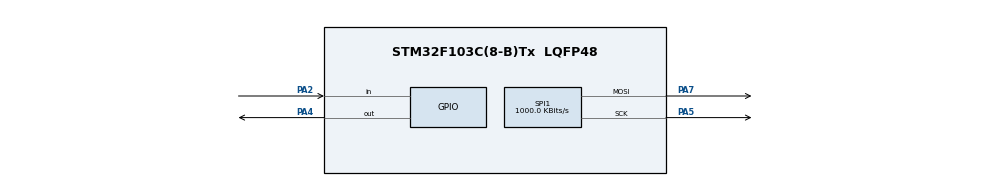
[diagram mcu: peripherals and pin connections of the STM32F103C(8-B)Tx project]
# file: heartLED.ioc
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Mcu.Family=STM32F1
Mcu.Name=STM32F103C(8-B)Tx
Mcu.Package=LQFP48
NVIC.PriorityGroup=NVIC_PRIORITYGROUP_4
PA13.Mode=Serial_Wire
PA13.Signal=SYS_JTMS-SWDIO
PA14.Mode=Serial_Wire
PA14.Signal=SYS_JTCK-SWCLK
PA2.Signal=GPIO_Input
PA4.Signal=GPIO_Output
PA5.Mode=TX_Only_Simplex_Unidirect_Master
PA5.Signal=SPI1_SCK
PA7.Mode=TX_Only_Simplex_Unidirect_Master
PA7.Signal=SPI1_MOSI
ProjectManager.HeapSize=0x200
ProjectManager.StackSize=0x400
ProjectManager.TargetToolchain=STM32CubeIDE
RCC.APB1Freq_Value=8000000
RCC.APB2Freq_Value=8000000
SPI1.BaudRatePrescaler=SPI_BAUDRATEPRESCALER_8
SPI1.CalculateBaudRate=1000.0 KBits/s
SPI1.Direction=SPI_DIRECTION_2LINES
SPI1.Mode=SPI_MODE_MASTER
SPI1.VirtualType=VM_MASTER
TIM2.Prescaler=7
VP_TIM2_VS_ClockSourceINT.Mode=Internal
board=custom

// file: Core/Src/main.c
/* USER CODE BEGIN Header */
/**
  ******************************************************************************
  * @file           : main.c
  * @brief          : Main program body
  ******************************************************************************
  * @attention
  *
  * Copyright (c) 2026 STMicroelectronics.
  * All rights reserved.
  *
  * This software is licensed under terms that can be found in the LICENSE file
  * in the root directory of this software component.
  * If no LICENSE file comes with this software, it is provided AS-IS.
  *
  ******************************************************************************
  */
/* USER CODE END Header */
#include "main.h"

SPI_HandleTypeDef hspi1;

TIM_HandleTypeDef htim2;

void SystemClock_Config(void);
static void MX_GPIO_Init(void);
static void MX_SPI1_Init(void);
static void MX_TIM2_Init(void);

/* USER CODE BEGIN 0 */
static uint8_t previous = 0;
static uint8_t mode = 1;

typedef struct
{
    int8_t row;
    uint8_t column;
    uint8_t speed_div;
    uint8_t tick;
} Star;

static void Frame_SetPixel(
    uint8_t frame[7],
    int8_t row,
    uint8_t column)
{
    if ((row < 0) || (row >= 7) || (column >= 7))
    {
        return;
    }

    frame[row] |= (uint8_t)(1U << (column + 1U));
}

static void Delay_us(uint16_t us)
{
    __HAL_TIM_SET_COUNTER(&htim2, 0U);

    while (__HAL_TIM_GET_COUNTER(&htim2) < us)
    {
    }
}

static void Shift_Write(uint8_t rows, uint8_t columns)
{
    uint8_t tx[2] = {rows, columns};

    HAL_GPIO_WritePin(GPIOA, GPIO_PIN_4, GPIO_PIN_RESET);

    HAL_SPI_Transmit(&hspi1, tx, 2, HAL_MAX_DELAY);

    HAL_GPIO_WritePin(GPIOA, GPIO_PIN_4, GPIO_PIN_SET);
}

static void Button_Update(void)
{
    uint8_t current =
        (uint8_t)HAL_GPIO_ReadPin(GPIOA, GPIO_PIN_2);

    if ((previous == 0U) && (current == 1U))
    {
        Delay_us(20000);

        if (HAL_GPIO_ReadPin(GPIOA, GPIO_PIN_2) == GPIO_PIN_SET)
        {
            mode++;

            if (mode > 4U)
            {
                mode = 1U;
            }
        }
    }

    previous = current;
}

static void DisplayFrames(
    const uint8_t (*frame)[7],
    uint32_t duration_ms,
    uint16_t frame_count,
    uint8_t brightness)
{
    uint8_t mode_at_start = mode;

    const uint16_t row_period_us = 1000U;

    if (brightness > 100U)
    {
        brightness = 100U;
    }

    uint16_t on_time_us =
        (uint16_t)(((uint32_t)row_period_us * brightness) / 100U);

    uint16_t off_time_us =
        (uint16_t)(row_period_us - on_time_us);

    for (uint16_t i = 0; i < frame_count; i++)
    {
        uint32_t start = HAL_GetTick();

        while ((HAL_GetTick() - start) < duration_ms)
        {
            Button_Update();

            if (mode != mode_at_start)
            {
                Shift_Write(0x00, 0x00);
                return;
            }

            for (uint8_t row = 0; row < 7; row++)
            {
                uint8_t row_mask =
                    (uint8_t)(1U << (7U - row));

                Shift_Write(0x00, 0x00);

                if ((on_time_us > 0U) && (frame[i][row] != 0U))
                {
                    Shift_Write(row_mask, frame[i][row]);
                    Delay_us(on_time_us);
                }

                Shift_Write(0x00, 0x00);

                if (off_time_us > 0U)
                {
                    Delay_us(off_time_us);
                }
            }
        }
    }

    Shift_Write(0x00, 0x00);
}

static void Starfall(void)
{
    static Star stars[3U] =
    {
        { .row = -1, .column = 1U, .speed_div = 1U, .tick = 0U },
        { .row = -4, .column = 4U, .speed_div = 2U, .tick = 0U },
        { .row = -7, .column = 6U, .speed_div = 3U, .tick = 0U }
    };

    uint8_t frame[7] = {0};

    for (uint8_t i = 0U; i < 3U; i++)
    {
        Frame_SetPixel(frame, stars[i].row, stars[i].column);
        Frame_SetPixel(frame, stars[i].row - 1, stars[i].column);
        Frame_SetPixel(frame, stars[i].row - 2, stars[i].column);

        stars[i].tick++;

        if (stars[i].tick >= stars[i].speed_div)
        {
            stars[i].tick = 0U;
            stars[i].row++;
        }

        if (stars[i].row > 8)
        {
            stars[i].row = -2;

            stars[i].column =
                (uint8_t)((stars[i].column + 2U + i) % 7U);

            stars[i].speed_div =
                (uint8_t)(1U + ((stars[i].speed_div + i) % 3U));
        }
    }

    DisplayFrames(
        &frame,
        70U,
        1U,
        100U
    );
}

uint8_t love_frames[][7] = {
		{0b00000000, 0b00010000, 0b00010000, 0b00010000, 0b00010000, 0b00010000, 0b00010000}, //i
		{0b01101100, 0b11111110, 0b11111110, 0b11111110, 0b01111100, 0b00111000, 0b00010000}, //heart
	    {0b01000100, 0b01000100, 0b00101000, 0b00010000, 0b00010000, 0b00010000, 0b00010000}, //y
	    {0b00000000, 0b00111000, 0b01000100, 0b01000100, 0b01000100, 0b00111000, 0b00000000}, //o
		{0b01000100, 0b01000100, 0b01000100, 0b01000100, 0b01000100, 0b00111000, 0b00000000} //u
};

uint8_t heart_frames[][7] = {
		{0b01101100, 0b11111110, 0b11111110, 0b11111110, 0b01111100, 0b00111000, 0b00010000}
};

static uint8_t IsHeartPixel(int8_t row, int8_t column)
{
    static const uint8_t heart_shape[7] =
    {
        0b01101100,
        0b11111110,
        0b11111110,
        0b11111110,
        0b01111100,
        0b00111000,
        0b00010000
    };

    if ((row < 0) || (row >= 7) ||
        (column < 0) || (column >= 7))
    {
        return 0U;
    }

    uint8_t column_mask =
        (uint8_t)(1U << ((uint8_t)column + 1U));

    return ((heart_shape[row] & column_mask) != 0U);
}

static uint32_t random_state = 0xA341316CU;

static uint32_t Random_Get(void)
{
    random_state ^= random_state << 13;
    random_state ^= random_state >> 17;
    random_state ^= random_state << 5;

    return random_state;
}

static void RandomComet(void)
{
    static Star comet =
    {
        .row = 3,
        .column = 3U,
        .speed_div = 0U,
        .tick = 0U
    };

    static int8_t previous_row = 3;
    static int8_t previous_column = 3;

    static int8_t tail_2_row = 3;
    static int8_t tail_2_column = 3;

    static uint32_t last_move_ms = 0U;

    const uint32_t move_period_ms = 150U;

    uint8_t frame[7] = {0};

    Frame_SetPixel(
        frame,
        comet.row,
        comet.column
    );

    if ((comet.tick % 2U) == 0U)
    {
        Frame_SetPixel(
            frame,
            previous_row,
            (uint8_t)previous_column
        );
    }

    if ((comet.tick % 4U) == 0U)
    {
        Frame_SetPixel(
            frame,
            tail_2_row,
            (uint8_t)tail_2_column
        );
    }

    DisplayFrames(
        &frame,
        10U,
        1U,
        100U
    );

    if ((HAL_GetTick() - last_move_ms) < move_period_ms)
    {
        return;
    }

    last_move_ms = HAL_GetTick();

    static const int8_t row_step[4] =
    {
        -1, 1, 0, 0
    };

    static const int8_t column_step[4] =
    {
        0, 0, -1, 1
    };

    uint8_t valid_directions[4];
    uint8_t valid_count = 0U;

    for (uint8_t direction = 0U;
         direction < 4U;
         direction++)
    {
        int8_t next_row =
            comet.row + row_step[direction];

        int8_t next_column =
            (int8_t)comet.column + column_step[direction];

        if (!IsHeartPixel(next_row, next_column))
        {
            continue;
        }

        if ((next_row == previous_row) &&
            (next_column == previous_column))
        {
            continue;
        }

        valid_directions[valid_count] = direction;
        valid_count++;
    }

    if (valid_count == 0U)
    {
        for (uint8_t direction = 0U;
             direction < 4U;
             direction++)
        {
            int8_t next_row =
                comet.row + row_step[direction];

            int8_t next_column =
                (int8_t)comet.column +
                column_step[direction];

            if (IsHeartPixel(next_row, next_column))
            {
                valid_directions[valid_count] = direction;
                valid_count++;
            }
        }
    }

    if (valid_count == 0U)
    {
        return;
    }

    uint8_t selected_direction =
        valid_directions[Random_Get() % valid_count];

    int8_t next_row =
        comet.row + row_step[selected_direction];

    int8_t next_column =
        (int8_t)comet.column +
        column_step[selected_direction];

    tail_2_row = previous_row;
    tail_2_column = previous_column;

    previous_row = comet.row;
    previous_column = (int8_t)comet.column;

    comet.row = next_row;
    comet.column = (uint8_t)next_column;

    comet.tick++;
}
/* USER CODE END 0 */

int main(void)
{

  /* MCU Configuration--------------------------------------------------------*/

  /* Reset of all peripherals, Initializes the Flash interface and the Systick. */
  HAL_Init();

  /* Configure the system clock */
  SystemClock_Config();

  /* Initialize all configured peripherals */
  MX_GPIO_Init();
  MX_SPI1_Init();
  MX_TIM2_Init();
  /* USER CODE BEGIN 2 */
  HAL_TIM_Base_Start(&htim2);
  /* USER CODE END 2 */

  /* Infinite loop */
  /* USER CODE BEGIN WHILE */
  while (1)
  {
      Button_Update();

      if (mode == 1U)
      {
          DisplayFrames(
              love_frames,
              1000,
              sizeof(love_frames) / sizeof(love_frames[0]),
			  100U
          );
      }
      else if(mode == 2U)
      {
          DisplayFrames(
              heart_frames,
              1000,
              sizeof(heart_frames) / sizeof(heart_frames[0]),
			  100U
          );
      }

      else if (mode == 3U){
    	  Starfall();
      }

      else if (mode == 4U){

    	  RandomComet();
      }

  }
  /* USER CODE END 3 */
}

void SystemClock_Config(void)
{
  RCC_OscInitTypeDef RCC_OscInitStruct = {0};
  RCC_ClkInitTypeDef RCC_ClkInitStruct = {0};

  /** Initializes the RCC Oscillators according to the specified parameters
  * in the RCC_OscInitTypeDef structure.
  */
  RCC_OscInitStruct.OscillatorType = RCC_OSCILLATORTYPE_HSI;
  RCC_OscInitStruct.HSIState = RCC_HSI_ON;
  RCC_OscInitStruct.HSICalibrationValue = RCC_HSICALIBRATION_DEFAULT;
  RCC_OscInitStruct.PLL.PLLState = RCC_PLL_NONE;
  if (HAL_RCC_OscConfig(&RCC_OscInitStruct) != HAL_OK)
  {
    Error_Handler();
  }

  /** Initializes the CPU, AHB and APB buses clocks
  */
  RCC_ClkInitStruct.ClockType = RCC_CLOCKTYPE_HCLK|RCC_CLOCKTYPE_SYSCLK
                              |RCC_CLOCKTYPE_PCLK1|RCC_CLOCKTYPE_PCLK2;
  RCC_ClkInitStruct.SYSCLKSource = RCC_SYSCLKSOURCE_HSI;
  RCC_ClkInitStruct.AHBCLKDivider = RCC_SYSCLK_DIV1;
  RCC_ClkInitStruct.APB1CLKDivider = RCC_HCLK_DIV1;
  RCC_ClkInitStruct.APB2CLKDivider = RCC_HCLK_DIV1;

  if (HAL_RCC_ClockConfig(&RCC_ClkInitStruct, FLASH_LATENCY_0) != HAL_OK)
  {
    Error_Handler();
  }
}

static void MX_SPI1_Init(void)
{

  /* SPI1 parameter configuration*/
  hspi1.Instance = SPI1;
  hspi1.Init.Mode = SPI_MODE_MASTER;
  hspi1.Init.Direction = SPI_DIRECTION_2LINES;
  hspi1.Init.DataSize = SPI_DATASIZE_8BIT;
  hspi1.Init.CLKPolarity = SPI_POLARITY_LOW;
  hspi1.Init.CLKPhase = SPI_PHASE_1EDGE;
  hspi1.Init.NSS = SPI_NSS_SOFT;
  hspi1.Init.BaudRatePrescaler = SPI_BAUDRATEPRESCALER_8;
  hspi1.Init.FirstBit = SPI_FIRSTBIT_MSB;
  hspi1.Init.TIMode = SPI_TIMODE_DISABLE;
  hspi1.Init.CRCCalculation = SPI_CRCCALCULATION_DISABLE;
  hspi1.Init.CRCPolynomial = 10;
  if (HAL_SPI_Init(&hspi1) != HAL_OK)
  {
    Error_Handler();
  }

}

static void MX_TIM2_Init(void)
{

  TIM_ClockConfigTypeDef sClockSourceConfig = {0};
  TIM_MasterConfigTypeDef sMasterConfig = {0};

  htim2.Instance = TIM2;
  htim2.Init.Prescaler = 7;
  htim2.Init.CounterMode = TIM_COUNTERMODE_UP;
  htim2.Init.Period = 65535;
  htim2.Init.ClockDivision = TIM_CLOCKDIVISION_DIV1;
  htim2.Init.AutoReloadPreload = TIM_AUTORELOAD_PRELOAD_DISABLE;
  if (HAL_TIM_Base_Init(&htim2) != HAL_OK)
  {
    Error_Handler();
  }
  sClockSourceConfig.ClockSource = TIM_CLOCKSOURCE_INTERNAL;
  if (HAL_TIM_ConfigClockSource(&htim2, &sClockSourceConfig) != HAL_OK)
  {
    Error_Handler();
  }
  sMasterConfig.MasterOutputTrigger = TIM_TRGO_RESET;
  sMasterConfig.MasterSlaveMode = TIM_MASTERSLAVEMODE_DISABLE;
  if (HAL_TIMEx_MasterConfigSynchronization(&htim2, &sMasterConfig) != HAL_OK)
  {
    Error_Handler();
  }

}

static void MX_GPIO_Init(void)
{
  GPIO_InitTypeDef GPIO_InitStruct = {0};

  /* GPIO Ports Clock Enable */
  __HAL_RCC_GPIOA_CLK_ENABLE();

  /*Configure GPIO pin Output Level */
  HAL_GPIO_WritePin(GPIOA, GPIO_PIN_4, GPIO_PIN_RESET);

  /*Configure GPIO pin : PA2 */
  GPIO_InitStruct.Pin = GPIO_PIN_2;
  GPIO_InitStruct.Mode = GPIO_MODE_INPUT;
  GPIO_InitStruct.Pull = GPIO_NOPULL;
  HAL_GPIO_Init(GPIOA, &GPIO_InitStruct);

  /*Configure GPIO pin : PA4 */
  GPIO_InitStruct.Pin = GPIO_PIN_4;
  GPIO_InitStruct.Mode = GPIO_MODE_OUTPUT_PP;
  GPIO_InitStruct.Pull = GPIO_NOPULL;
  GPIO_InitStruct.Speed = GPIO_SPEED_FREQ_LOW;
  HAL_GPIO_Init(GPIOA, &GPIO_InitStruct);

}

void Error_Handler(void)
{
  __disable_irq();
  while (1)
  {
  }
}
